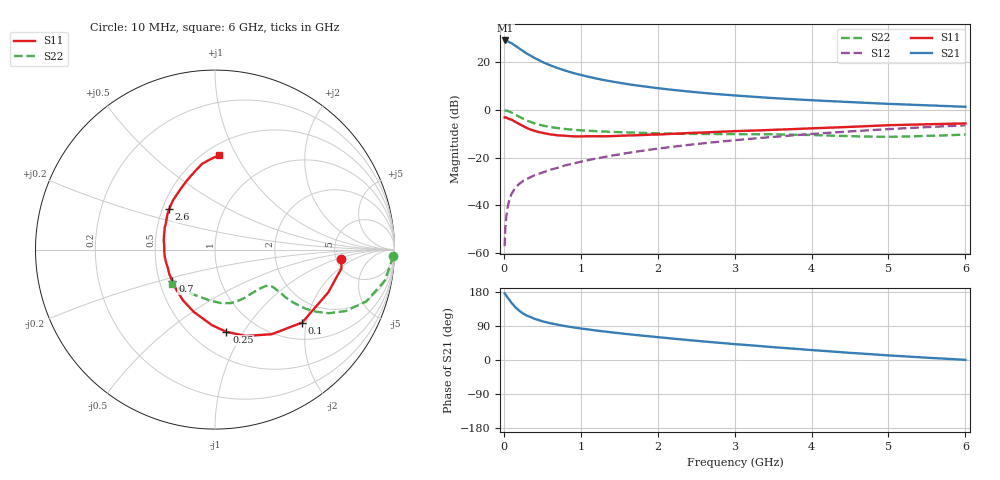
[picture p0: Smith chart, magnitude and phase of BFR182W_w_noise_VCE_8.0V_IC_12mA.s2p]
! Infineon Technologies  Discrete & RF Semiconductors
! BFR182W
! VCE =  8.0 V,  IC =  12 mA
! Common Emitter S-Parameters:  Jan 2017
# GHz  S  MA  R  50
!  f  S11  S21  S12  S22
! GHz  MAG  ANG  MAG  ANG  MAG  ANG  MAG  ANG
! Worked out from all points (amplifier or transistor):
!   77 points, 10 MHz to 6 GHz, reference 50 ohm
!   highest |S21| = 29.2 dB at 20 MHz (marker M1)
!   |S21| within 3 dB of that: start of sweep to 184.4 MHz
!   unconditionally stable (mu >= 1): 1.041 GHz to 2.564 GHz
!   at 130 MHz: K = 0.31, MSG = 30.5 dB, |S12| = -33.6 dB
!   at 2.2 GHz: K = 1.02, MAG = 11.0 dB, |S12| = -15.4 dB
!   at 6 GHz: K = 0.86, MSG = 3.9 dB, |S12| = -6.4 dB
!   lowest NFmin = 1.14 dB at 450 MHz
!   S11 on the Smith chart (normalised r, x): 10 MHz: 5.52, -1.10; 100 MHz: 1.39, -1.89; 250 MHz: 0.72, -0.84; 700 MHz: 0.58, -0.23; 2.6 GHz: 0.54, +0.28; 6 GHz: 0.59, +0.86
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0.01  0.7036 -4.1  28.75 176.1  0.0014 84.3  0.9932 -2.0
0.02  0.7125 -8.4  28.91 173.3  0.0035 94.3  0.9843 -4.2
0.05  0.6744 -20.7  27.69 164.3  0.0094 80.9  0.9626 -10.3
0.1  0.6334 -39.9  25.28 150.6  0.0174 75.3  0.8912 -18.9
0.15  0.5679 -56.1  22.39 139.2  0.0235 67.8  0.8046 -25.2
0.2  0.5112 -70.2  19.65 130.1  0.0283 65.1  0.7264 -29.2
0.25  0.4627 -82.1  17.32 122.7  0.0327 62.5  0.6601 -31.6
0.3  0.4216 -92.3  15.3 117.1  0.036 61.8  0.6033 -33.1
0.4  0.3672 -108.7  12.36 108.5  0.0431 62.1  0.5268 -34.1
0.5  0.3341 -122.4  10.24 102.3  0.0489 62.3  0.4765 -34.1
0.6  0.3105 -133.8  8.745 97.2  0.056 63.3  0.4423 -33.5
0.7  0.2961 -143.4  7.598 93.1  0.0616 65.2  0.419 -33.2
0.9  0.2819 -158.7  6.023 86.2  0.0756 66.0  0.3878 -32.9
1.1  0.2828 -171.4  5.005 80.6  0.0898 67.2  0.3694 -33.4
1.3  0.2826 178.5  4.275 75.4  0.1034 67.3  0.3562 -34.5
1.5  0.2894 170.6  3.746 70.8  0.1178 67.1  0.3451 -36.5
2.1  0.3127 150.8  2.769 58.4  0.1629 65.4  0.3237 -45.4
2.6  0.34 138.7  2.291 48.9  0.2017 62.9  0.3155 -55.3
3.1  0.366 127.9  1.979 40.4  0.2414 59.6  0.3124 -65.1
4.1  0.4202 110.9  1.583 24.8  0.3239 51.8  0.2968 -85.4
5.1  0.4866 97.5  1.334 10.9  0.4073 42.6  0.2769 -114.9
6  0.5259 87.4  1.175 0.4  0.4797 33.7  0.3075 -141.8
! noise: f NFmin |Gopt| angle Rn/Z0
0.45  1.14  0.05  71  0.15
0.9  1.22  0.06  102  0.15
1.9  1.71  0.21  -156  0.14
2.4  1.97  0.2  -143  0.21
